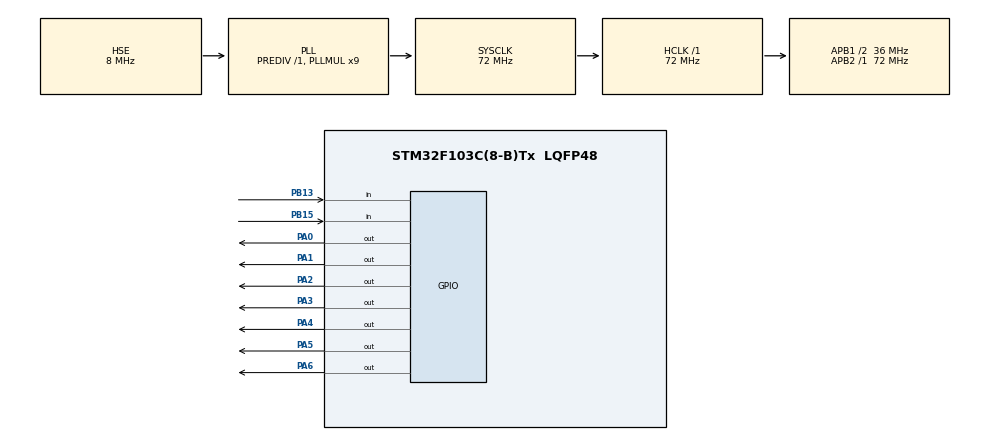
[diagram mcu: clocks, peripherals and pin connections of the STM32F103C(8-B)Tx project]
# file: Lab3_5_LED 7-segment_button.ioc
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Mcu.Family=STM32F1
Mcu.Name=STM32F103C(8-B)Tx
Mcu.Package=LQFP48
NVIC.PriorityGroup=NVIC_PRIORITYGROUP_4
PA0-WKUP.Signal=GPIO_Output
PA1.Signal=GPIO_Output
PA13.Mode=Serial_Wire
PA13.Signal=SYS_JTMS-SWDIO
PA14.Mode=Serial_Wire
PA14.Signal=SYS_JTCK-SWCLK
PA2.Signal=GPIO_Output
PA3.Signal=GPIO_Output
PA4.Signal=GPIO_Output
PA5.Signal=GPIO_Output
PA6.Signal=GPIO_Output
PB13.GPIO_PuPd=GPIO_PULLDOWN
PB13.Signal=GPIO_Input
PB15.GPIO_PuPd=GPIO_PULLDOWN
PB15.Signal=GPIO_Input
PD0-OSC_IN.Mode=HSE-External-Oscillator
PD0-OSC_IN.Signal=RCC_OSC_IN
PD1-OSC_OUT.Mode=HSE-External-Oscillator
PD1-OSC_OUT.Signal=RCC_OSC_OUT
ProjectManager.HeapSize=0x200
ProjectManager.StackSize=0x400
ProjectManager.TargetToolchain=STM32CubeIDE
RCC.AHBFreq_Value=72000000
RCC.APB1CLKDivider=RCC_HCLK_DIV2
RCC.APB1Freq_Value=36000000
RCC.APB1TimFreq_Value=72000000
RCC.APB2Freq_Value=72000000
RCC.APB2TimFreq_Value=72000000
RCC.HCLKFreq_Value=72000000
RCC.PLLMUL=RCC_PLL_MUL9
RCC.PLLSourceVirtual=RCC_PLLSOURCE_HSE
RCC.SYSCLKFreq_VALUE=72000000
RCC.SYSCLKSource=RCC_SYSCLKSOURCE_PLLCLK
RCC.USBFreq_Value=72000000
board=custom

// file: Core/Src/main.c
/* USER CODE BEGIN Header */
/**
  ******************************************************************************
  * @file           : main.c
  * @brief          : Main program body
  ******************************************************************************
  * @attention
  *
  * Copyright (c) 2026 STMicroelectronics.
  * All rights reserved.
  *
  * This software is licensed under terms that can be found in the LICENSE file
  * in the root directory of this software component.
  * If no LICENSE file comes with this software, it is provided AS-IS.
  *
  ******************************************************************************
  */
/* USER CODE END Header */
#include "main.h"

/* USER CODE BEGIN PM */
void All_Segment_Off(void);

/* USER CODE END PM */

/* USER CODE BEGIN PV */
uint8_t segment_map[10] = {
		0x3F,
		0x06,
		0x5B,
		0x4F,
		0x66,
		0x6D,
		0x7D,
		0x27,
		0x7F,
		0x6F
	};

int8_t count = 0;
uint8_t prev_b13_state = 0;
uint8_t prev_b15_state = 0;

/* USER CODE END PV */

void SystemClock_Config(void);
static void MX_GPIO_Init(void);

int main(void)
{

  /* MCU Configuration--------------------------------------------------------*/

  /* Reset of all peripherals, Initializes the Flash interface and the Systick. */
  HAL_Init();

  /* Configure the system clock */
  SystemClock_Config();

  /* Initialize all configured peripherals */
  MX_GPIO_Init();

  /* Infinite loop */
  /* USER CODE BEGIN WHILE */
  while (1)
    {
        uint8_t curr_b13 = (HAL_GPIO_ReadPin(GPIOB, GPIO_PIN_13) == GPIO_PIN_SET);
        uint8_t curr_b15 = (HAL_GPIO_ReadPin(GPIOB, GPIO_PIN_15) == GPIO_PIN_SET);

        if (curr_b13 && curr_b15){
            count = 0;
        }
        else if (curr_b13 && !prev_b13_state){
            if (count < 9) {
                count++;
            }
        }
        else if (curr_b15 && !prev_b15_state){
            if (count > 0) {
                count--;
            }
        }

        prev_b13_state = curr_b13;
        prev_b15_state = curr_b15;

        All_Segment_Off();
        HAL_GPIO_WritePin(GPIOA, segment_map[count], GPIO_PIN_SET);

        HAL_Delay(20);

    /* USER CODE END WHILE */

    }
}

void SystemClock_Config(void)
{
  RCC_OscInitTypeDef RCC_OscInitStruct = {0};
  RCC_ClkInitTypeDef RCC_ClkInitStruct = {0};

  /** Initializes the RCC Oscillators according to the specified parameters
  * in the RCC_OscInitTypeDef structure.
  */
  RCC_OscInitStruct.OscillatorType = RCC_OSCILLATORTYPE_HSE;
  RCC_OscInitStruct.HSEState = RCC_HSE_ON;
  RCC_OscInitStruct.HSEPredivValue = RCC_HSE_PREDIV_DIV1;
  RCC_OscInitStruct.HSIState = RCC_HSI_ON;
  RCC_OscInitStruct.PLL.PLLState = RCC_PLL_ON;
  RCC_OscInitStruct.PLL.PLLSource = RCC_PLLSOURCE_HSE;
  RCC_OscInitStruct.PLL.PLLMUL = RCC_PLL_MUL9;
  if (HAL_RCC_OscConfig(&RCC_OscInitStruct) != HAL_OK)
  {
    Error_Handler();
  }

  /** Initializes the CPU, AHB and APB buses clocks
  */
  RCC_ClkInitStruct.ClockType = RCC_CLOCKTYPE_HCLK|RCC_CLOCKTYPE_SYSCLK
                              |RCC_CLOCKTYPE_PCLK1|RCC_CLOCKTYPE_PCLK2;
  RCC_ClkInitStruct.SYSCLKSource = RCC_SYSCLKSOURCE_PLLCLK;
  RCC_ClkInitStruct.AHBCLKDivider = RCC_SYSCLK_DIV1;
  RCC_ClkInitStruct.APB1CLKDivider = RCC_HCLK_DIV2;
  RCC_ClkInitStruct.APB2CLKDivider = RCC_HCLK_DIV1;

  if (HAL_RCC_ClockConfig(&RCC_ClkInitStruct, FLASH_LATENCY_2) != HAL_OK)
  {
    Error_Handler();
  }
}

static void MX_GPIO_Init(void)
{
  GPIO_InitTypeDef GPIO_InitStruct = {0};

  /* GPIO Ports Clock Enable */
  __HAL_RCC_GPIOD_CLK_ENABLE();
  __HAL_RCC_GPIOA_CLK_ENABLE();
  __HAL_RCC_GPIOB_CLK_ENABLE();

  /*Configure GPIO pin Output Level */
  HAL_GPIO_WritePin(GPIOA, GPIO_PIN_0|GPIO_PIN_1|GPIO_PIN_2|GPIO_PIN_3
                          |GPIO_PIN_4|GPIO_PIN_5|GPIO_PIN_6, GPIO_PIN_RESET);

  /*Configure GPIO pins : PA0 PA1 PA2 PA3
                           PA4 PA5 PA6 */
  GPIO_InitStruct.Pin = GPIO_PIN_0|GPIO_PIN_1|GPIO_PIN_2|GPIO_PIN_3
                          |GPIO_PIN_4|GPIO_PIN_5|GPIO_PIN_6;
  GPIO_InitStruct.Mode = GPIO_MODE_OUTPUT_PP;
  GPIO_InitStruct.Pull = GPIO_NOPULL;
  GPIO_InitStruct.Speed = GPIO_SPEED_FREQ_LOW;
  HAL_GPIO_Init(GPIOA, &GPIO_InitStruct);

  /*Configure GPIO pins : PB13 PB15 */
  GPIO_InitStruct.Pin = GPIO_PIN_13|GPIO_PIN_15;
  GPIO_InitStruct.Mode = GPIO_MODE_INPUT;
  GPIO_InitStruct.Pull = GPIO_PULLDOWN;
  HAL_GPIO_Init(GPIOB, &GPIO_InitStruct);

}

/* USER CODE BEGIN 4 */
void All_Segment_Off(void){
		HAL_GPIO_WritePin(GPIOA, GPIO_PIN_0|GPIO_PIN_1|GPIO_PIN_2|GPIO_PIN_3|GPIO_PIN_4|GPIO_PIN_5|GPIO_PIN_6, GPIO_PIN_RESET);
	}

/* USER CODE END 4 */

void Error_Handler(void)
{
  __disable_irq();
  while (1)
  {
  }
}
